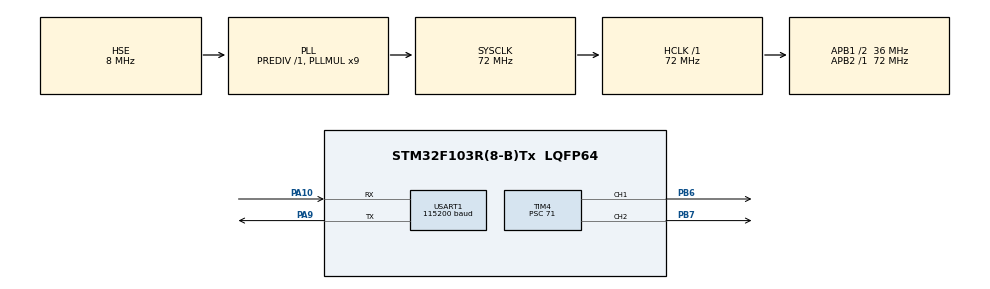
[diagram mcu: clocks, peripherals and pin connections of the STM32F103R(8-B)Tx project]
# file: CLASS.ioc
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Mcu.Family=STM32F1
Mcu.Name=STM32F103R(8-B)Tx
Mcu.Package=LQFP64
NVIC.PriorityGroup=NVIC_PRIORITYGROUP_4
NVIC.USART1_IRQn=true\:0\:0\:false\:false\:true\:true
PA10.Mode=Asynchronous
PA10.Signal=USART1_RX
PA13.Mode=Serial_Wire
PA13.Signal=SYS_JTMS-SWDIO
PA14.Mode=Serial_Wire
PA14.Signal=SYS_JTCK-SWCLK
PA9.Mode=Asynchronous
PA9.Signal=USART1_TX
PB6.Signal=S_TIM4_CH1
PB7.Signal=S_TIM4_CH2
PD0-OSC_IN.Mode=HSE-External-Oscillator
PD0-OSC_IN.Signal=RCC_OSC_IN
PD1-OSC_OUT.Mode=HSE-External-Oscillator
PD1-OSC_OUT.Signal=RCC_OSC_OUT
ProjectManager.HeapSize=0x200
ProjectManager.StackSize=0x400
ProjectManager.TargetToolchain=MDK-ARM V5
RCC.AHBFreq_Value=72000000
RCC.APB1CLKDivider=RCC_HCLK_DIV2
RCC.APB1Freq_Value=36000000
RCC.APB1TimFreq_Value=72000000
RCC.APB2Freq_Value=72000000
RCC.APB2TimFreq_Value=72000000
RCC.HCLKFreq_Value=72000000
RCC.PLLMUL=RCC_PLL_MUL9
RCC.PLLSourceVirtual=RCC_PLLSOURCE_HSE
RCC.SYSCLKFreq_VALUE=72000000
RCC.SYSCLKSource=RCC_SYSCLKSOURCE_PLLCLK
RCC.USBFreq_Value=72000000
SH.S_TIM4_CH1.0=TIM4_CH1,PWM Generation1 CH1
SH.S_TIM4_CH2.0=TIM4_CH2,PWM Generation2 CH2
TIM4.Channel-PWM\ Generation1\ CH1=TIM_CHANNEL_1
TIM4.Channel-PWM\ Generation2\ CH2=TIM_CHANNEL_2
TIM4.Period=9999
TIM4.Prescaler=71
TIM4.Pulse-PWM\ Generation1\ CH1=1899
TIM4.Pulse-PWM\ Generation2\ CH2=1349
USART1.BaudRate=115200
USART1.VirtualMode=VM_ASYNC
board=CLASS

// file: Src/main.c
/**
  ******************************************************************************
  * File Name          : main.c
  * Description        : Main program body
  ******************************************************************************
  *
  * COPYRIGHT(c) 2017 STMicroelectronics
  *
  * Redistribution and use in source and binary forms, with or without modification,
  * are permitted provided that the following conditions are met:
  *   1. Redistributions of source code must retain the above copyright notice,
  *      this list of conditions and the following disclaimer.
  *   2. Redistributions in binary form must reproduce the above copyright notice,
  *      this list of conditions and the following disclaimer in the documentation
  *      and/or other materials provided with the distribution.
  *   3. Neither the name of STMicroelectronics nor the names of its contributors
  *      may be used to endorse or promote products derived from this software
  *      without specific prior written permission.
  *
  * THIS SOFTWARE IS PROVIDED BY THE COPYRIGHT HOLDERS AND CONTRIBUTORS "AS IS"
  * AND ANY EXPRESS OR IMPLIED WARRANTIES, INCLUDING, BUT NOT LIMITED TO, THE
  * IMPLIED WARRANTIES OF MERCHANTABILITY AND FITNESS FOR A PARTICULAR PURPOSE ARE
  * DISCLAIMED. IN NO EVENT SHALL THE COPYRIGHT HOLDER OR CONTRIBUTORS BE LIABLE
  * FOR ANY DIRECT, INDIRECT, INCIDENTAL, SPECIAL, EXEMPLARY, OR CONSEQUENTIAL
  * DAMAGES (INCLUDING, BUT NOT LIMITED TO, PROCUREMENT OF SUBSTITUTE GOODS OR
  * SERVICES; LOSS OF USE, DATA, OR PROFITS; OR BUSINESS INTERRUPTION) HOWEVER
  * CAUSED AND ON ANY THEORY OF LIABILITY, WHETHER IN CONTRACT, STRICT LIABILITY,
  * OR TORT (INCLUDING NEGLIGENCE OR OTHERWISE) ARISING IN ANY WAY OUT OF THE USE
  * OF THIS SOFTWARE, EVEN IF ADVISED OF THE POSSIBILITY OF SUCH DAMAGE.
  *
  ******************************************************************************
  */
#include "main.h"
#include "stm32f1xx_hal.h"
#include "tim.h"
#include "usart.h"
#include "gpio.h"

/* USER CODE BEGIN Includes */
#include "Motor.h"
#include "wifi.h"
#include "control.h"
#include "pid.h"
/* USER CODE END Includes */

/* USER CODE BEGIN PV */
/* Private variables ---------------------------------------------------------*/

/* USER CODE END PV */

void SystemClock_Config(void);
void Error_Handler(void);

/* USER CODE BEGIN PFP */
/* Private function prototypes -----------------------------------------------*/

/* USER CODE END PFP */

/* USER CODE BEGIN 0 */
#include "stdio.h"
#ifdef __GNUC__
#define PUTCHAR_PROTOTYPE int __io_putchar(int ch)
#else
#define PUTCHAR_PROTOTYPE int fputc(int ch, FILE *f)
#endif
PUTCHAR_PROTOTYPE
{
    HAL_UART_Transmit(&huart1 , (uint8_t *)&ch, 1 , 0xffff);
    return ch;
}

extern uint8_t usart1_temp;
volatile int8_t X_axis = 60; //收到的横坐标
volatile int8_t Y_axis = 80; //收到的纵坐标
int flag = 0;
int32_t ABOVE_PWMSet;
int32_t BELOW_PWMSet;
int32_t ABOVE_PWMSetTemp;
int32_t BELOW_PWMSetTemp;
PidTypeDef AboveSteerPID;
PidTypeDef BelowSteerPID;

void PID_Init(void)
{
    PID_init(&AboveSteerPID, 1.5, 0, 2);
    PID_init(&BelowSteerPID, 1.5, 0, 2);
}

/* USER CODE END 0 */

int main(void)
{

  /* MCU Configuration----------------------------------------------------------*/

  /* Reset of all peripherals, Initializes the Flash interface and the Systick. */
  HAL_Init();

  /* Configure the system clock */
  SystemClock_Config();

  /* Initialize all configured peripherals */
  MX_GPIO_Init();
  MX_USART1_UART_Init();
  MX_TIM4_Init();

  /* USER CODE BEGIN 2 */
    HAL_TIM_PWM_Start(&htim4, TIM_CHANNEL_1); //下面舵机启动
    HAL_TIM_PWM_Start(&htim4, TIM_CHANNEL_2); //上面舵机启动
    PID_Init();

    while (HAL_UART_Receive_IT(&huart1, &usart1_temp,
                               sizeof(usart1_temp)) != HAL_OK);//开启串口中断
  /* USER CODE END 2 */

  /* Infinite loop */
  /* USER CODE BEGIN WHILE */
    //X_axis=20;
    while (1)
    {
  /* USER CODE END WHILE */

  /* USER CODE BEGIN 3 */
//			AboveSteerChange(300);
        int i;
        for (i = 0; i < 10; i++)
        {
					ABOVE_PWMSetTemp= (int32_t)PID_PositionRealize(&AboveSteerPID, 0, X_axis - 60);
            if (ABOVE_PWMSetTemp > 200)
            {
                ABOVE_PWMSetTemp = 200;
            }
            else if (ABOVE_PWMSetTemp < -200)
            {
                ABOVE_PWMSetTemp = -200;
            }
						ABOVE_PWMSet+=ABOVE_PWMSetTemp;
            AboveSteerChange(-ABOVE_PWMSet);                           //舵机转向控制
						HAL_Delay(10);
        }

        for (i = 0; i < 10; i++)
        {
					  BELOW_PWMSet += (int32_t)PID_PositionRealize(&BelowSteerPID, 0, Y_axis - 80); //
            if (BELOW_PWMSet > 400)
            {
                BELOW_PWMSet = 400;
            }
            else if (BELOW_PWMSet < -400)
            {
                BELOW_PWMSet = -400;
            }
            BelowSteerChange(BELOW_PWMSet);                           //舵机转向控制
						HAL_Delay(10);
//            BELOW_PWMSetTemp = (int32_t)PID_PositionRealize(&BelowSteerPID, 0, Y_axis - 80); //
//            if (BELOW_PWMSetTemp > 400)
//            {
//                BELOW_PWMSetTemp = 400;
//            }
//            else if (BELOW_PWMSetTemp < -400)
//            {
//                BELOW_PWMSetTemp = -400;
//            }
//						BELOW_PWMSet+=BELOW_PWMSetTemp;
//            BelowSteerChange(BELOW_PWMSet);                           //舵机转向控制
//						HAL_Delay(10);
        }

//          if (flag==1)
//          {
//              AboveSteerChange(0);
//              flag=0;
//          }
//          else
//          {
//              AboveSteerChange(ABOVE_STEER_MIN);
//                              flag=1;
//
//          }
//          HAL_Delay(1000);
//          int i=1;
//          while(i<10)
//          {
//              Pid_Control(X_axis-40,Y_axis-60);
//              HAL_Delay(10);
//              i++;
//          }
    }
  /* USER CODE END 3 */

}

/** System Clock Configuration
*/
void SystemClock_Config(void)
{

  RCC_OscInitTypeDef RCC_OscInitStruct;
  RCC_ClkInitTypeDef RCC_ClkInitStruct;

    /**Initializes the CPU, AHB and APB busses clocks
    */
  RCC_OscInitStruct.OscillatorType = RCC_OSCILLATORTYPE_HSE;
  RCC_OscInitStruct.HSEState = RCC_HSE_ON;
  RCC_OscInitStruct.HSEPredivValue = RCC_HSE_PREDIV_DIV1;
  RCC_OscInitStruct.HSIState = RCC_HSI_ON;
  RCC_OscInitStruct.PLL.PLLState = RCC_PLL_ON;
  RCC_OscInitStruct.PLL.PLLSource = RCC_PLLSOURCE_HSE;
  RCC_OscInitStruct.PLL.PLLMUL = RCC_PLL_MUL9;
  if (HAL_RCC_OscConfig(&RCC_OscInitStruct) != HAL_OK)
  {
    Error_Handler();
  }

    /**Initializes the CPU, AHB and APB busses clocks
    */
  RCC_ClkInitStruct.ClockType = RCC_CLOCKTYPE_HCLK|RCC_CLOCKTYPE_SYSCLK
                              |RCC_CLOCKTYPE_PCLK1|RCC_CLOCKTYPE_PCLK2;
  RCC_ClkInitStruct.SYSCLKSource = RCC_SYSCLKSOURCE_PLLCLK;
  RCC_ClkInitStruct.AHBCLKDivider = RCC_SYSCLK_DIV1;
  RCC_ClkInitStruct.APB1CLKDivider = RCC_HCLK_DIV2;
  RCC_ClkInitStruct.APB2CLKDivider = RCC_HCLK_DIV1;

  if (HAL_RCC_ClockConfig(&RCC_ClkInitStruct, FLASH_LATENCY_2) != HAL_OK)
  {
    Error_Handler();
  }

    /**Configure the Systick interrupt time
    */
  HAL_SYSTICK_Config(HAL_RCC_GetHCLKFreq()/1000);

    /**Configure the Systick
    */
  HAL_SYSTICK_CLKSourceConfig(SYSTICK_CLKSOURCE_HCLK);

  /* SysTick_IRQn interrupt configuration */
  HAL_NVIC_SetPriority(SysTick_IRQn, 0, 0);
}

void Error_Handler(void)
{
    while (1)
    {
    }
}

/************************ (C) COPYRIGHT STMicroelectronics *****END OF FILE****/
